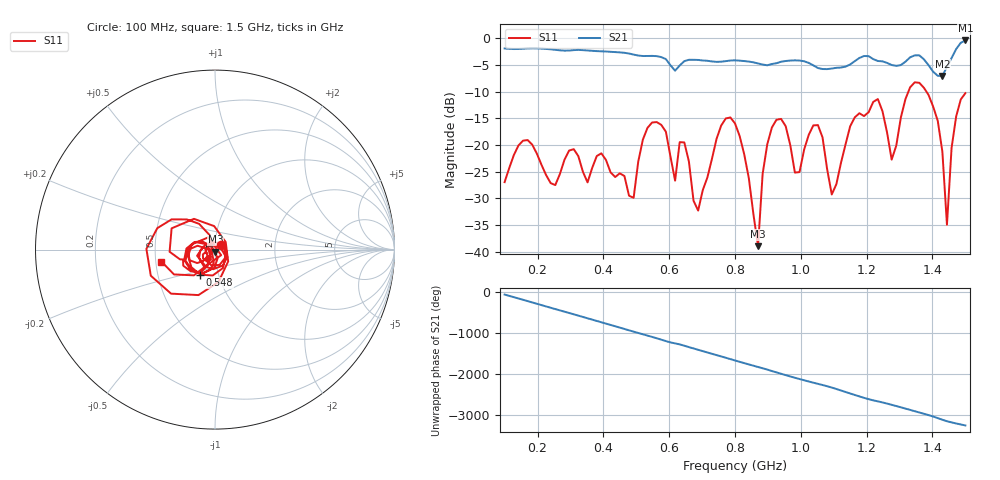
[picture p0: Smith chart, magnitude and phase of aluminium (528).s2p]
! NanoVNA-App
! Date: 2025-09-25 14:59:23
! Start: 100MHz Stop: 1,5GHz Points: 101
! S-Parameter data: F S11 S21 S12 S22
# Hz S RI R 50
!  Frequency  S11_Real  S11_Imag  S21_Real  S21_Imag  S12_Real  S12_Imag  S22_Real  S22_Imag
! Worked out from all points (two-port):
!   101 points, 100 MHz to 1.5 GHz, reference 50 ohm
!   highest |S21| = -0.42 dB at 1.5 GHz (marker M1); lowest = -7.1 dB at 1.43 GHz (marker M2)
!   |S21| within 3 dB of the highest: start of sweep to 566.9 MHz; 1.46 GHz to end of sweep (the widest 2 of 4)
!   lowest |S11| = -39.0 dB at 870 MHz (marker M3), VSWR 1.02, Z = 50.2 - j1.12 ohm
!   |S11| at or under -10 dB: start of sweep to 1.327 GHz; 1.381 GHz to end of sweep
!   S12 and S22 are empty: the file has one direction only
!   S11 on the Smith chart (normalised r, x): 100 MHz: 1.07, +0.06; 548 MHz: 0.82, -0.24; 1.5 GHz: 0.54, -0.08
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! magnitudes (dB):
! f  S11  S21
! 100 MHz  -27.0  -1.9
! 156 MHz  -19.2  -2.0
! 338 MHz  -25.0  -2.2
! 492 MHz  -29.9  -3.1
! 548 MHz  -15.8  -3.3
! 576 MHz  -16.2  -3.5
! 618 MHz  -26.7  -6.1
! 646 MHz  -19.5  -4.3
! 688 MHz  -32.3  -4.1
! 800 MHz  -16.0  -4.1
! 870 MHz  -39.0  -4.7
! 912 MHz  -16.7  -4.8
! 982 MHz  -25.2  -4.2
! 1.038 GHz  -16.3  -5.1
! 1.094 GHz  -29.3  -5.7
! 1.234 GHz  -11.4  -4.3
! 1.276 GHz  -22.7  -5.0
! 1.346 GHz  -8.3  -3.2
! 1.43 GHz  -21.2  -7.1
! 1.444 GHz  -34.9  -5.4
! 1.458 GHz  -20.6  -3.7
! 1.5 GHz  -10.3  -0.4
